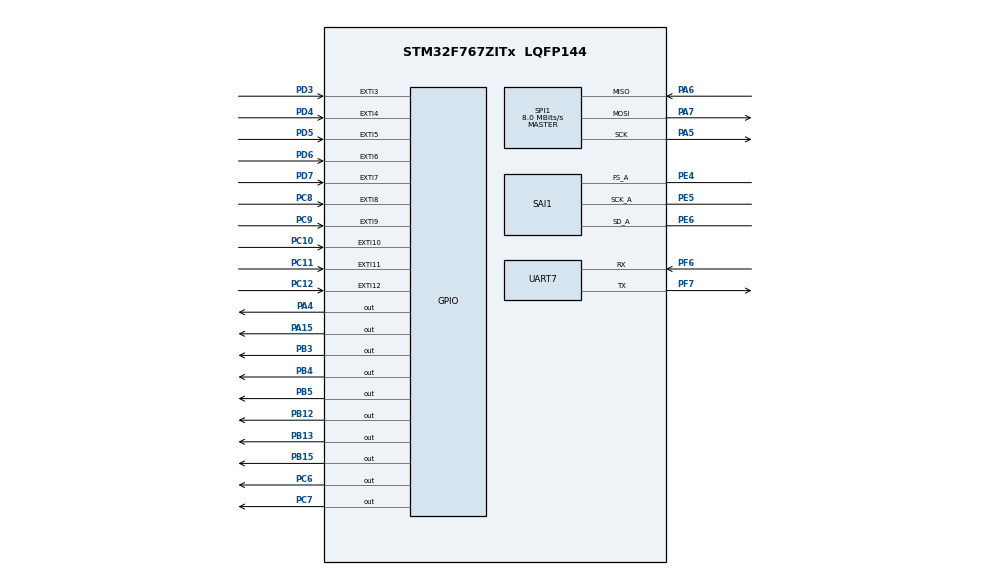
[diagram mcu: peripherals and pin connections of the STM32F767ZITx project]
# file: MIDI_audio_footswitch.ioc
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Dma.Request0=SAI1_A
Dma.SAI1_A.0.Direction=DMA_PERIPH_TO_MEMORY
Dma.SAI1_A.0.FIFOMode=DMA_FIFOMODE_ENABLE
Dma.SAI1_A.0.FIFOThreshold=DMA_FIFO_THRESHOLD_FULL
Dma.SAI1_A.0.Instance=DMA2_Stream1
Dma.SAI1_A.0.MemBurst=DMA_MBURST_SINGLE
Dma.SAI1_A.0.MemDataAlignment=DMA_MDATAALIGN_WORD
Dma.SAI1_A.0.MemInc=DMA_MINC_ENABLE
Dma.SAI1_A.0.Mode=DMA_CIRCULAR
Dma.SAI1_A.0.PeriphBurst=DMA_PBURST_SINGLE
Dma.SAI1_A.0.PeriphDataAlignment=DMA_PDATAALIGN_WORD
Dma.SAI1_A.0.PeriphInc=DMA_PINC_DISABLE
Dma.SAI1_A.0.Priority=DMA_PRIORITY_LOW
Mcu.Family=STM32F7
Mcu.Name=STM32F767ZITx
Mcu.Package=LQFP144
NVIC.DMA2_Stream1_IRQn=true\:0\:0\:false\:false\:true\:false
NVIC.EXTI15_10_IRQn=true\:0\:0\:false\:false\:true\:true
NVIC.EXTI3_IRQn=true\:0\:0\:false\:false\:true\:true
NVIC.EXTI4_IRQn=true\:0\:0\:false\:false\:true\:true
NVIC.EXTI9_5_IRQn=true\:0\:0\:false\:false\:true\:true
NVIC.PriorityGroup=NVIC_PRIORITYGROUP_4
PA15.Signal=GPIO_Output
PA4.Signal=GPIO_Output
PA5.Mode=Full_Duplex_Master
PA5.Signal=SPI1_SCK
PA6.Mode=Full_Duplex_Master
PA6.Signal=SPI1_MISO
PA7.Mode=Full_Duplex_Master
PA7.Signal=SPI1_MOSI
PB12.Signal=GPIO_Output
PB13.Signal=GPIO_Output
PB15.Signal=GPIO_Output
PB3.Signal=GPIO_Output
PB4.Signal=GPIO_Output
PB5.Signal=GPIO_Output
PC10.GPIO_PuPd=GPIO_PULLDOWN
PC10.Signal=GPXTI10
PC11.GPIO_PuPd=GPIO_PULLDOWN
PC11.Signal=GPXTI11
PC12.GPIO_PuPd=GPIO_PULLDOWN
PC12.Signal=GPXTI12
PC6.Signal=GPIO_Output
PC7.Signal=GPIO_Output
PC8.GPIO_PuPd=GPIO_PULLDOWN
PC8.Signal=GPXTI8
PC9.GPIO_PuPd=GPIO_PULLDOWN
PC9.Signal=GPXTI9
PD3.GPIO_PuPd=GPIO_PULLDOWN
PD3.Signal=GPXTI3
PD4.GPIO_PuPd=GPIO_PULLDOWN
PD4.Signal=GPXTI4
PD5.GPIO_PuPd=GPIO_PULLDOWN
PD5.Signal=GPXTI5
PD6.GPIO_PuPd=GPIO_PULLDOWN
PD6.Signal=GPXTI6
PD7.GPIO_PuPd=GPIO_PULLDOWN
PD7.Signal=GPXTI7
PE4.Mode=SAI_A_Master
PE4.Signal=SAI1_FS_A
PE5.Mode=SAI_A_Master
PE5.Signal=SAI1_SCK_A
PE6.Mode=SAI_A_Master
PE6.Signal=SAI1_SD_A
PF6.Mode=Asynchronous
PF6.Signal=UART7_RX
PF7.Mode=Asynchronous
PF7.Signal=UART7_TX
ProjectManager.HeapSize=0x200
ProjectManager.StackSize=0x400
ProjectManager.TargetToolchain=SW4STM32
RCC.HSE_VALUE=25000000
RCC.HSI_VALUE=16000000
RCC.LSE_VALUE=32768
RCC.PLLSAIN=194
RCC.PLLSAIQ=3
RCC.USBFreq_Value=96000000
RCC.VCOOutputFreq_Value=192000000
SAI1.InitProtocol-SAI_A_Master=Enable
SAI1.Instance-SAI_A_Master=SAI$Index_Block_A
SAI1.MClockEnable-SAI_A_Master=SAI_MASTERCLOCK_DISABLE
SAI1.Synchro-SAI_A_Master=SAI_ASYNCHRONOUS
SAI1.VirtualMode-SAI_A_Master=VM_MASTER
SAI1.VirtualProtocol-SAI_A_BASIC=VM_BASIC_PROTOCOL
SPI1.CalculateBaudRate=8.0 MBits/s
SPI1.Direction=SPI_DIRECTION_2LINES
SPI1.Mode=SPI_MODE_MASTER
SPI1.VirtualType=VM_MASTER
VP_SAI1_VP_$IpInstance_SAIA_SAI_BASIC.Mode=SAI_A_BASIC
board=MIDI_audio_footswitch

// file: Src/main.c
/**
  ******************************************************************************
  * File Name          : main.c
  * Description        : Main program body
  ******************************************************************************
  ** This notice applies to any and all portions of this file
  * that are not between comment pairs USER CODE BEGIN and
  * USER CODE END. Other portions of this file, whether
  * inserted by the user or by software development tools
  * are owned by their respective copyright owners.
  *
  * COPYRIGHT(c) 2018 STMicroelectronics
  *
  * Redistribution and use in source and binary forms, with or without modification,
  * are permitted provided that the following conditions are met:
  *   1. Redistributions of source code must retain the above copyright notice,
  *      this list of conditions and the following disclaimer.
  *   2. Redistributions in binary form must reproduce the above copyright notice,
  *      this list of conditions and the following disclaimer in the documentation
  *      and/or other materials provided with the distribution.
  *   3. Neither the name of STMicroelectronics nor the names of its contributors
  *      may be used to endorse or promote products derived from this software
  *      without specific prior written permission.
  *
  * THIS SOFTWARE IS PROVIDED BY THE COPYRIGHT HOLDERS AND CONTRIBUTORS "AS IS"
  * AND ANY EXPRESS OR IMPLIED WARRANTIES, INCLUDING, BUT NOT LIMITED TO, THE
  * IMPLIED WARRANTIES OF MERCHANTABILITY AND FITNESS FOR A PARTICULAR PURPOSE ARE
  * DISCLAIMED. IN NO EVENT SHALL THE COPYRIGHT HOLDER OR CONTRIBUTORS BE LIABLE
  * FOR ANY DIRECT, INDIRECT, INCIDENTAL, SPECIAL, EXEMPLARY, OR CONSEQUENTIAL
  * DAMAGES (INCLUDING, BUT NOT LIMITED TO, PROCUREMENT OF SUBSTITUTE GOODS OR
  * SERVICES; LOSS OF USE, DATA, OR PROFITS; OR BUSINESS INTERRUPTION) HOWEVER
  * CAUSED AND ON ANY THEORY OF LIABILITY, WHETHER IN CONTRACT, STRICT LIABILITY,
  * OR TORT (INCLUDING NEGLIGENCE OR OTHERWISE) ARISING IN ANY WAY OUT OF THE USE
  * OF THIS SOFTWARE, EVEN IF ADVISED OF THE POSSIBILITY OF SUCH DAMAGE.
  *
  ******************************************************************************
  */

#include "main.h"
#include "stm32f7xx_hal.h"
#include "dma.h"
#include "sai.h"
#include "spi.h"
#include "usart.h"
#include "gpio.h"

/* USER CODE BEGIN PV */
/* Private variables ---------------------------------------------------------*/
static uint8_t serviceEXTIFlag = 0;
static uint16_t EXTIPin = 0;
/* USER CODE END PV */

void SystemClock_Config(void);

/* USER CODE BEGIN PFP */
/* Private function prototypes -----------------------------------------------*/
void toggleLED(uint16_t);
/* USER CODE END PFP */

int main(void)
{

  /* MCU Configuration----------------------------------------------------------*/

  /* Reset of all peripherals, Initializes the Flash interface and the Systick. */
  HAL_Init();

  /* Configure the system clock */
  SystemClock_Config();

  /* Initialize all configured peripherals */
  MX_GPIO_Init();
  MX_DMA_Init();
  MX_SAI1_Init();
  MX_SPI1_Init();
  MX_UART7_Init();

  /* Infinite loop */
  /* USER CODE BEGIN WHILE */
  while (1)
  {
    if(serviceEXTIFlag)
    {
      toggleLED(EXTIPin);
      serviceEXTIFlag = 0;
    }
  }
  /* USER CODE END WHILE */

}

/** System Clock Configuration
*/
void SystemClock_Config(void)
{

  RCC_OscInitTypeDef RCC_OscInitStruct;
  RCC_ClkInitTypeDef RCC_ClkInitStruct;
  RCC_PeriphCLKInitTypeDef PeriphClkInitStruct;

    /**Macro to configure the PLL multiplication factor
    */
  __HAL_RCC_PLL_PLLM_CONFIG(16);

    /**Macro to configure the PLL clock source
    */
  __HAL_RCC_PLL_PLLSOURCE_CONFIG(RCC_PLLSOURCE_HSI);

    /**Configure the main internal regulator output voltage
    */
  __HAL_RCC_PWR_CLK_ENABLE();

  __HAL_PWR_VOLTAGESCALING_CONFIG(PWR_REGULATOR_VOLTAGE_SCALE3);

    /**Initializes the CPU, AHB and APB busses clocks
    */
  RCC_OscInitStruct.OscillatorType = RCC_OSCILLATORTYPE_HSI;
  RCC_OscInitStruct.HSIState = RCC_HSI_ON;
  RCC_OscInitStruct.HSICalibrationValue = 16;
  RCC_OscInitStruct.PLL.PLLState = RCC_PLL_NONE;
  RCC_OscInitStruct.PLL.PLLSource = RCC_PLLSOURCE_HSI;
  RCC_OscInitStruct.PLL.PLLM = 16;
  if (HAL_RCC_OscConfig(&RCC_OscInitStruct) != HAL_OK)
  {
    _Error_Handler(__FILE__, __LINE__);
  }

    /**Initializes the CPU, AHB and APB busses clocks
    */
  RCC_ClkInitStruct.ClockType = RCC_CLOCKTYPE_HCLK|RCC_CLOCKTYPE_SYSCLK
                              |RCC_CLOCKTYPE_PCLK1|RCC_CLOCKTYPE_PCLK2;
  RCC_ClkInitStruct.SYSCLKSource = RCC_SYSCLKSOURCE_HSI;
  RCC_ClkInitStruct.AHBCLKDivider = RCC_SYSCLK_DIV1;
  RCC_ClkInitStruct.APB1CLKDivider = RCC_HCLK_DIV1;
  RCC_ClkInitStruct.APB2CLKDivider = RCC_HCLK_DIV1;

  if (HAL_RCC_ClockConfig(&RCC_ClkInitStruct, FLASH_LATENCY_0) != HAL_OK)
  {
    _Error_Handler(__FILE__, __LINE__);
  }

  PeriphClkInitStruct.PeriphClockSelection = RCC_PERIPHCLK_UART7|RCC_PERIPHCLK_SAI1;
  PeriphClkInitStruct.PLLSAI.PLLSAIN = 194;
  PeriphClkInitStruct.PLLSAI.PLLSAIR = 2;
  PeriphClkInitStruct.PLLSAI.PLLSAIQ = 3;
  PeriphClkInitStruct.PLLSAI.PLLSAIP = RCC_PLLSAIP_DIV2;
  PeriphClkInitStruct.PLLSAIDivQ = 1;
  PeriphClkInitStruct.PLLSAIDivR = RCC_PLLSAIDIVR_2;
  PeriphClkInitStruct.Sai1ClockSelection = RCC_SAI1CLKSOURCE_PLLSAI;
  PeriphClkInitStruct.Uart7ClockSelection = RCC_UART7CLKSOURCE_PCLK1;
  if (HAL_RCCEx_PeriphCLKConfig(&PeriphClkInitStruct) != HAL_OK)
  {
    _Error_Handler(__FILE__, __LINE__);
  }

    /**Configure the Systick interrupt time
    */
  HAL_SYSTICK_Config(HAL_RCC_GetHCLKFreq()/1000);

    /**Configure the Systick
    */
  HAL_SYSTICK_CLKSourceConfig(SYSTICK_CLKSOURCE_HCLK);

  /* SysTick_IRQn interrupt configuration */
  HAL_NVIC_SetPriority(SysTick_IRQn, 0, 0);
}

/* USER CODE BEGIN 4 */
/**
  * @brief  EXTI line detection callbacks.
  * @param  GPIO_Pin: Specifies the pins connected EXTI line
  * @retval None
  */
void toggleLED(uint16_t GPIO_Pin)
{
  switch (GPIO_Pin)
  {
    case GPIO_PIN_3:
      HAL_GPIO_TogglePin(GPIOB, GPIO_PIN_4);
      break;

    case GPIO_PIN_4:
      HAL_GPIO_TogglePin(GPIOA, GPIO_PIN_4);
      break;

    case GPIO_PIN_5:
      HAL_GPIO_TogglePin(GPIOB, GPIO_PIN_3);
      break;

    case GPIO_PIN_6:
      HAL_GPIO_TogglePin(GPIOB, GPIO_PIN_5);
      break;

    case GPIO_PIN_7:
      HAL_GPIO_TogglePin(GPIOC, GPIO_PIN_7);
      break;

    case GPIO_PIN_8:
      HAL_GPIO_TogglePin(GPIOC, GPIO_PIN_6);
      break;

    case GPIO_PIN_9:
      HAL_GPIO_TogglePin(GPIOB, GPIO_PIN_15);
      break;

    case GPIO_PIN_10:
      HAL_GPIO_TogglePin(GPIOB, GPIO_PIN_13);
      break;

    case GPIO_PIN_11:
      HAL_GPIO_TogglePin(GPIOB, GPIO_PIN_12);
      break;

    case GPIO_PIN_12:
      HAL_GPIO_TogglePin(GPIOA, GPIO_PIN_15);
      break;

  }
}
void HAL_GPIO_EXTI_Callback(uint16_t GPIO_Pin)
{
  serviceEXTIFlag = 1;
  EXTIPin = GPIO_Pin;
}
/* USER CODE END 4 */

void _Error_Handler(char * file, int line)
{
  while(1)
  {
  }
}

/************************ (C) COPYRIGHT STMicroelectronics *****END OF FILE****/
